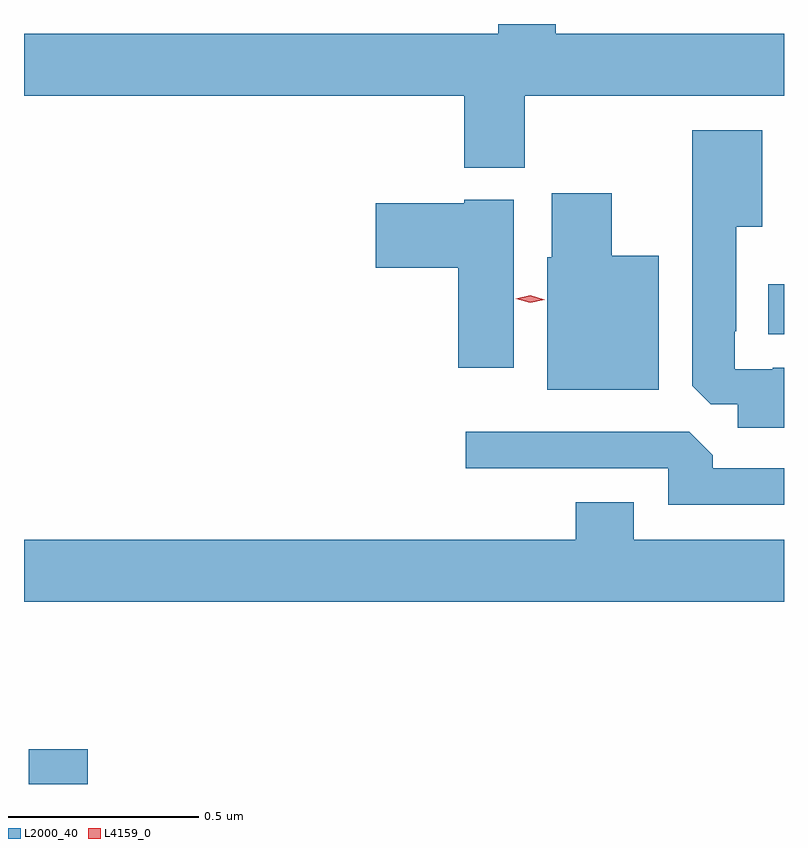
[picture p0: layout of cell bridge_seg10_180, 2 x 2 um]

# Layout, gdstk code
import gdstk
lib = gdstk.Library(unit=1e-6, precision=1e-09)
def R(c, l, rs):  # rectangles x0, y0, x1, y1
    for r in rs: c.add(gdstk.rectangle(r[:2], r[2:], *l))
def P(c, l, *ps):  # polygons
    for p in ps: c.add(gdstk.Polygon(p, *l))
L2000_40 = (2000, 40)
L4159_0 = (4159, 0)

bridge_seg10_180 = lib.new_cell('bridge_seg10_180')
R(bridge_seg10_180, L2000_40, [(184.865,1266.537,185.021,1266.628), (186.812,1267.721,186.853,1267.852)])
P(bridge_seg10_180, L2000_40, [(186.171,1268.348),(186.853,1268.348),(186.853,1268.512),(186.252,1268.512),(186.252,1268.537),(186.101,1268.537),(186.101,1268.512),(184.853,1268.512),(184.853,1268.348),(186.011,1268.348),(186.011,1268.159),(186.171,1268.159)],
  [(186.853,1267.633),(186.823,1267.633),(186.823,1267.629),(186.723,1267.629),(186.723,1267.729),(186.727,1267.729),(186.727,1268.003),(186.796,1268.003),(186.796,1268.257),(186.611,1268.257),(186.611,1267.585),(186.66,1267.536),(186.731,1267.536),(186.731,1267.475),(186.853,1267.475)],
  [(186.523,1267.927),(186.4,1267.927),(186.4,1268.092),(186.242,1268.092),(186.242,1267.923),(186.23,1267.923),(186.23,1267.574),(186.523,1267.574)],
  [(186.142,1268.074),(186.012,1268.074),(186.012,1268.065),(185.778,1268.065),(185.778,1267.895),(185.996,1267.895),(185.996,1267.632),(186.142,1267.632)],
  [(186.853,1267.368),(186.665,1267.368),(186.665,1267.402),(186.603,1267.464),(186.015,1267.464),(186.015,1267.368),(186.549,1267.368),(186.549,1267.272),(186.853,1267.272)],
  [(186.853,1267.18),(186.457,1267.18),(186.457,1267.279),(186.305,1267.279),(186.305,1267.18),(184.853,1267.18),(184.853,1267.016),(186.853,1267.016)])
P(bridge_seg10_180, L4159_0, [(186.185,1267.803),(186.147,1267.814),(186.147,1267.814),(186.147,1267.814),(186.185,1267.823),(186.223,1267.812),(186.223,1267.812),(186.223,1267.812)])

lib.write_gds('bridge_seg10_180.gds')
